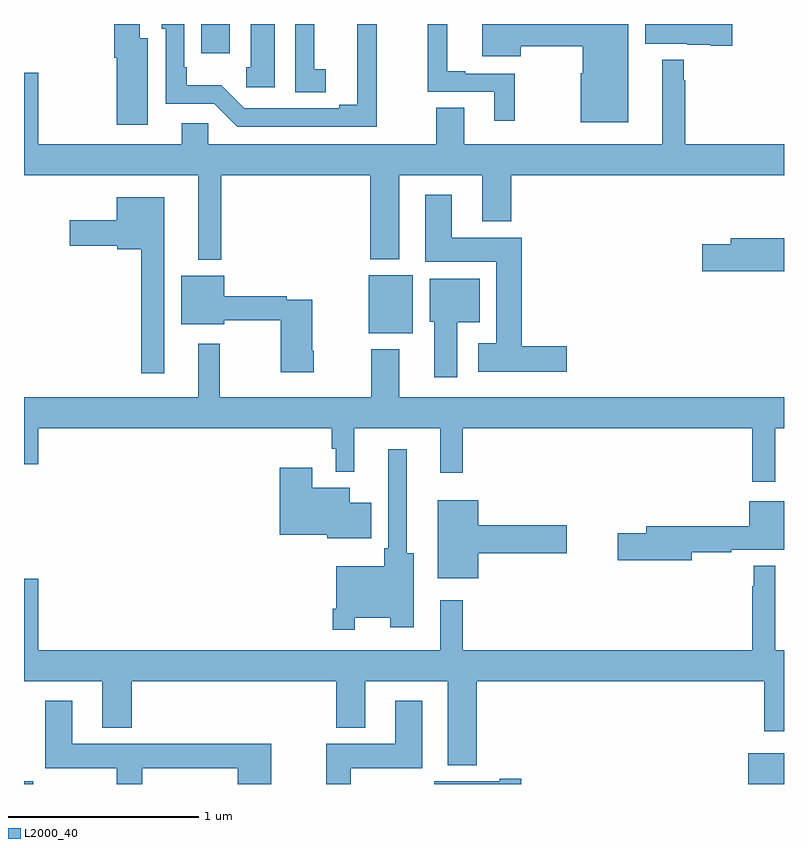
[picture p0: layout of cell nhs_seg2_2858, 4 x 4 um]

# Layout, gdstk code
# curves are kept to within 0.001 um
import gdstk
lib = gdstk.Library(unit=1e-6, precision=1e-09)
def R(c, l, rs):  # rectangles x0, y0, x1, y1
    for r in rs: c.add(gdstk.rectangle(r[:2], r[2:], *l))
def P(c, l, *ps):  # polygons
    for p in ps: c.add(gdstk.Polygon(p, *l))
L2000_40 = (2000, 40)

nhs_seg2_2858 = lib.new_cell('nhs_seg2_2858')
R(nhs_seg2_2858, L2000_40, [(261,609.8,261.049,609.814), (264.812,609.8,265,609.961), (262.814,612.173,263.047,612.478), (261.932,613.647,262.084,613.8)])
P(nhs_seg2_2858, L2000_40, [(264.181,613.8),(263.411,613.8),(263.411,613.631),(263.614,613.631),(263.614,613.684),(263.942,613.684),(263.942,613.542),(263.93,613.542),(263.93,613.283),(264.181,613.283)],
  [(261.652,613.726),(261.61,613.726),(261.61,613.8),(261.476,613.8),(261.476,613.622),(261.488,613.622),(261.488,613.269),(261.652,613.269)],
  [(262.588,613.561),(262.527,613.561),(262.527,613.8),(262.428,613.8),(262.428,613.441),(262.588,613.441)],
  [(264.727,613.8),(264.269,613.8),(264.269,613.697),(264.492,613.697),(264.492,613.691),(264.614,613.691),(264.614,613.685),(264.727,613.685)],
  [(262.321,613.8),(262.193,613.8),(262.193,613.572),(262.171,613.572),(262.171,613.467),(262.321,613.467)],
  [(262.856,613.8),(262.753,613.8),(262.754,613.376),(262.658,613.376),(262.658,613.356),(262.158,613.356),(262.037,613.477),(261.856,613.477),(261.856,613.573),(261.843,613.573),(261.843,613.8),(261.726,613.8),(261.726,613.776),(261.747,613.776),(261.747,613.38),(262.002,613.38),(262.122,613.26),(262.856,613.26)],
  [(263.584,613.539),(263.323,613.539),(263.323,613.552),(263.228,613.552),(263.228,613.8),(263.125,613.8),(263.125,613.443),(263.474,613.443),(263.474,613.29),(263.584,613.29)],
  [(263.411,612.761),(263.564,612.761),(263.564,613.004),(265,613.004),(265,613.168),(264.481,613.168),(264.481,613.505),(264.473,613.505),(264.473,613.612),(264.359,613.612),(264.359,613.168),(263.317,613.168),(263.317,613.358),(263.17,613.358),(263.17,613.168),(261.969,613.168),(261.969,613.278),(261.83,613.278),(261.83,613.168),(261.076,613.168),(261.076,613.543),(261,613.543),(261,613.004),(261.917,613.004),(261.917,612.56),(262.039,612.56),(262.039,613.004),(262.823,613.004),(262.823,612.563),(262.975,612.563),(262.975,613.004),(263.411,613.004)],
  [(263.857,612.104),(263.621,612.104),(263.621,612.676),(263.251,612.676),(263.251,612.901),(263.111,612.901),(263.111,612.548),(263.486,612.548),(263.486,612.121),(263.391,612.121),(263.391,611.969),(263.857,611.969)],
  [(261.739,612.889),(261.488,612.889),(261.488,612.766),(261.24,612.766),(261.24,612.632),(261.492,612.632),(261.492,612.614),(261.618,612.614),(261.618,611.961),(261.739,611.961)],
  [(265,612.672),(264.719,612.672),(264.719,612.642),(264.57,612.642),(264.57,612.5),(265,612.5)],
  [(262.524,612.079),(262.516,612.079),(262.516,612.348),(262.382,612.348),(262.382,612.368),(262.054,612.368),(262.054,612.475),(261.827,612.475),(261.827,612.221),(262.054,612.221),(262.054,612.24),(262.351,612.24),(262.351,611.967),(262.524,611.967)],
  [(263.281,612.23),(263.398,612.23),(263.398,612.46),(263.135,612.46),(263.135,612.234),(263.159,612.234),(263.159,611.94),(263.281,611.94)],
  [(264.955,611.672),(265,611.672),(265,611.836),(262.975,611.836),(262.975,612.088),(262.828,612.088),(262.828,611.836),(262.031,611.836),(262.031,612.118),(261.917,612.118),(261.917,611.836),(261,611.836),(261,611.484),(261.076,611.484),(261.076,611.672),(262.621,611.672),(262.621,611.565),(262.641,611.565),(262.641,611.444),(262.739,611.444),(262.739,611.672),(263.192,611.672),(263.192,611.439),(263.309,611.439),(263.309,611.672),(264.834,611.672),(264.834,611.391),(264.955,611.391)],
  [(262.742,610.676),(262.928,610.676),(262.928,610.626),(263.05,610.626),(263.05,611.014),(263.014,611.014),(263.014,611.563),(262.917,611.563),(262.917,611.041),(262.897,611.041),(262.897,610.945),(262.644,610.945),(262.644,610.723),(262.624,610.723),(262.624,610.611),(262.742,610.611)],
  [(262.828,611.281),(262.714,611.281),(262.714,611.359),(262.516,611.359),(262.516,611.464),(262.346,611.464),(262.346,611.111),(262.596,611.111),(262.596,611.093),(262.828,611.093)],
  [(263.392,611.015),(263.857,611.015),(263.857,611.162),(263.392,611.162),(263.392,611.293),(263.177,611.293),(263.177,610.883),(263.392,610.883)],
  [(264.514,611.02),(264.722,611.02),(264.722,611.033),(265,611.033),(265,611.287),(264.818,611.287),(264.818,611.156),(264.275,611.156),(264.275,611.12),(264.126,611.12),(264.126,610.978),(264.514,610.978)],
  [(263.384,610.34),(264.895,610.34),(264.895,610.077),(265,610.077),(265,610.504),(264.955,610.504),(264.955,610.948),(264.84,610.948),(264.84,610.841),(264.834,610.841),(264.834,610.504),(263.309,610.504),(263.309,610.768),(263.192,610.768),(263.192,610.504),(261.076,610.504),(261.076,610.879),(261,610.879),(261,610.34),(261.413,610.34),(261.413,610.097),(261.566,610.097),(261.566,610.34),(262.643,610.34),(262.643,610.097),(262.795,610.097),(262.795,610.34),(263.231,610.34),(263.231,609.899),(263.384,609.899)],
  [(262.72,609.884),(263.095,609.884),(263.095,610.237),(262.955,610.237),(262.955,610.012),(262.591,610.012),(262.591,609.8),(262.72,609.8)],
  [(261.623,609.883),(262.124,609.883),(262.124,609.8),(262.302,609.8),(262.302,610.012),(261.253,610.012),(261.253,610.237),(261.113,610.237),(261.113,609.884),(261.488,609.884),(261.488,609.8),(261.623,609.8)],
  [(263.617,609.827),(263.504,609.827),(263.504,609.814),(263.159,609.814),(263.159,609.8),(263.617,609.8)])

lib.write_gds('nhs_seg2_2858.gds')
